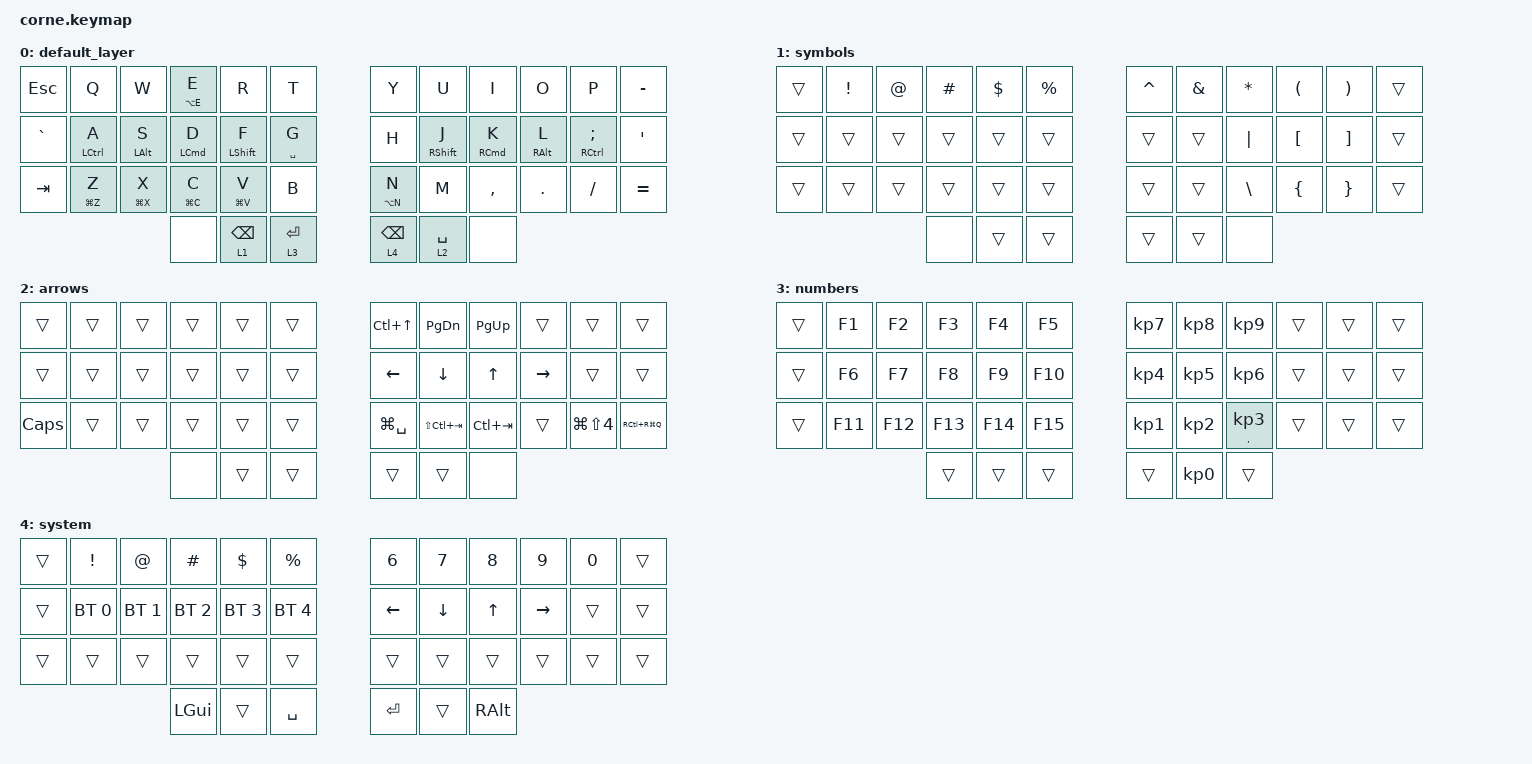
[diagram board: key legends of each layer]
/*
 * Copyright (c) 2020 The ZMK Contributors
 *
 * SPDX-License-Identifier: MIT
 */

#include <behaviors.dtsi>
#include <dt-bindings/zmk/bt.h>
#include <dt-bindings/zmk/keys.h>

/ {
    behaviors {
        hml: hml {
            compatible = "zmk,behavior-hold-tap";
            label = "HML";
            bindings = <&kp>, <&kp>;

            #binding-cells = <2>;
            tapping-term-ms = <180>;
            flavor = "balanced";
            hold-trigger-key-positions = <36 37 38 39 40 41 6 18 19 20 21 22 23 30 31 32 33 34 35 6 7 8 9 10 11>;
            hold-trigger-on-release;
            quick-tap-ms = <140>;
            require-prior-idle-ms = <50>;
        };

        hmr: hmr {
            compatible = "zmk,behavior-hold-tap";
            label = "HMR";
            bindings = <&kp>, <&kp>;

            #binding-cells = <2>;
            tapping-term-ms = <180>;
            flavor = "balanced";
            hold-trigger-key-positions = <36 37 38 39 40 41 0 1 2 3 4 5 12 13 14 15 16 17 24 25 26 27 28 29>;
            hold-trigger-on-release;
            quick-tap-ms = <140>;
            require-prior-idle-ms = <50>;
        };

        mtsingle: mtsingle {
            compatible = "zmk,behavior-hold-tap";
            label = "MTSINGLE";
            bindings = <&kp>, <&kp>;

            #binding-cells = <2>;
            tapping-term-ms = <250>;
            flavor = "tap-preferred";
        };
    };

    keymap {
        compatible = "zmk,keymap";

        default_layer {
            // -----------------------------------------------------------------------------------------
            // |  TAB |  Q  |  W  |  E  |  R  |  T  |   |  Y  |  U   |  I  |  O  |  P  | BSPC |
            // | CTRL |  A  |  S  |  D  |  F  |  G  |   |  H  |  J   |  K  |  L  |  ;  |  '   |
            // | SHFT |  Z  |  X  |  C  |  V  |  B  |   |  N  |  M   |  ,  |  .  |  /  | ESC  |
            //                    | GUI | LWR | SPC |   | ENT | RSE  | ALT |

            bindings = <
&kp ESC    &kp Q              &kp W              &mtsingle LA(E) E    &kp R              &kp T                &kp Y              &kp U               &kp I                 &kp O             &kp P            &kp MINUS
&kp GRAVE  &hml LCTRL A       &hml LEFT_ALT S    &hml LEFT_COMMAND D  &hml LSHIFT F      &mtsingle SPACE G    &kp H              &hmr RIGHT_SHIFT J  &hmr RIGHT_COMMAND K  &hmr RIGHT_ALT L  &hmr RCTRL SEMI  &kp SQT
&kp TAB    &mtsingle LG(Z) Z  &mtsingle LG(X) X  &mtsingle LG(C) C    &mtsingle LG(V) V  &kp B                &mtsingle LA(N) N  &kp M               &kp COMMA             &kp DOT           &kp FSLH         &kp EQUAL
                                                 &none                &lt 1 BACKSPACE    &lt 3 ENTER          &lt 4 BACKSPACE    &lt 2 SPACE         &none
            >;
        };

        symbols {
            // -----------------------------------------------------------------------------------------
            // |  TAB |  1  |  2  |  3  |  4  |  5  |   |  6  |  7  |  8  |  9  |  0  | BSPC |
            // | BTCLR| BT1 | BT2 | BT3 | BT4 | BT5 |   | LFT | DWN |  UP | RGT |     |      |
            // | SHFT |     |     |     |     |     |   |     |     |     |     |     |      |
            //                    | GUI |     | SPC |   | ENT |     | ALT |

            bindings = <
&trans  &kp EXCLAMATION  &kp AT_SIGN  &kp HASH  &kp DOLLAR  &kp PERCENT    &kp CARET  &kp AMPERSAND  &kp ASTERISK   &kp LEFT_PARENTHESIS  &kp RIGHT_PARENTHESIS  &trans
&trans  &trans           &trans       &trans    &trans      &trans         &trans     &trans         &kp PIPE       &kp LEFT_BRACKET      &kp RIGHT_BRACKET      &trans
&trans  &trans           &trans       &trans    &trans      &trans         &trans     &trans         &kp BACKSLASH  &kp LEFT_BRACE        &kp RIGHT_BRACE        &trans
                                      &none     &trans      &trans         &trans     &trans         &none
            >;
        };

        arrows {
            // -----------------------------------------------------------------------------------------
            // |  TAB |  !  |  @  |  #  |  $  |  %  |   |  ^  |  &  |  *  |  (  |  )  | BSPC |
            // | CTRL |     |     |     |     |     |   |  -  |  =  |  [  |  ]  |  \  |  `   |
            // | SHFT |     |     |     |     |     |   |  _  |  +  |  {  |  }  | "|" |  ~   |
            //                    | GUI |     | SPC |   | ENT |     | ALT |

            bindings = <
&trans        &trans  &trans  &trans  &trans  &trans    &kp LC(UP_ARROW)  &kp PAGE_DOWN    &kp PAGE_UP   &trans           &trans                &trans
&trans        &trans  &trans  &trans  &trans  &trans    &kp LEFT_ARROW    &kp DOWN_ARROW   &kp UP_ARROW  &kp RIGHT_ARROW  &trans                &trans
&kp CAPSLOCK  &trans  &trans  &trans  &trans  &trans    &kp LG(SPACE)     &kp LS(LC(TAB))  &kp LC(TAB)   &trans           &kp LG(LS(NUMBER_4))  &kp RC(RG(Q))
                              &none   &trans  &trans    &trans            &trans           &none
            >;
        };

        numbers {
            bindings = <
&trans  &kp F1   &kp F2   &kp F3   &kp F4   &kp F5     &kp KP_NUMBER_7  &kp KP_NUMBER_8  &kp KP_NUMBER_9              &trans  &trans  &trans
&trans  &kp F6   &kp F7   &kp F8   &kp F9   &kp F10    &kp KP_NUMBER_4  &kp KP_NUMBER_5  &kp KP_NUMBER_6              &trans  &trans  &trans
&trans  &kp F11  &kp F12  &kp F13  &kp F14  &kp F15    &kp KP_NUMBER_1  &kp KP_NUMBER_2  &mtsingle COMMA KP_NUMBER_3  &trans  &trans  &trans
                          &trans   &trans   &trans     &trans           &kp KP_NUMBER_0  &trans
            >;
        };

        system {
            bindings = <
&trans  &kp EXCLAMATION  &kp AT_SIGN   &kp HASH      &kp DOLLAR    &kp PERCENT     &kp N6    &kp N7    &kp N8    &kp N9     &kp N0  &trans
&trans  &bt BT_SEL 0     &bt BT_SEL 1  &bt BT_SEL 2  &bt BT_SEL 3  &bt BT_SEL 4    &kp LEFT  &kp DOWN  &kp UP    &kp RIGHT  &trans  &trans
&trans  &trans           &trans        &trans        &trans        &trans          &trans    &trans    &trans    &trans     &trans  &trans
                                       &kp LGUI      &trans        &kp SPACE       &kp RET   &trans    &kp RALT
            >;
        };
    };
};
